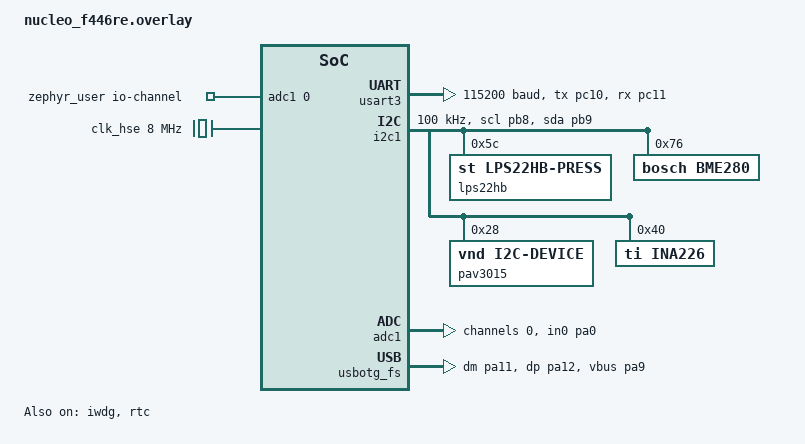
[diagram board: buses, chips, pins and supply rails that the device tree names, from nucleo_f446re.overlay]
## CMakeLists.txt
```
cmake_minimum_required(VERSION 3.20.0)

find_package(Zephyr REQUIRED HINTS $ENV{ZEPHYR_BASE})
project(medical_firmware)

zephyr_cc_option(-Wno-deprecated-declarations -Wno-deprecated)

target_include_directories(app PRIVATE
    include
    include/Power_Management_System
    include/RTOS_Command_based_thread_system
    include/Smart_Battery_System
)

# Sources moved into subfolders
file(GLOB PMS_SRCS      CONFIGURE_DEPENDS ${CMAKE_CURRENT_SOURCE_DIR}/src/Power_Management_System/*.cpp)
file(GLOB BATT_SRCS     CONFIGURE_DEPENDS ${CMAKE_CURRENT_SOURCE_DIR}/src/Smart_Battery_System/*.cpp)
file(GLOB RTOS_CMD_SRCS CONFIGURE_DEPENDS ${CMAKE_CURRENT_SOURCE_DIR}/src/RTOS_Command_based_thread_system/*.cpp)
file(GLOB USB_CDC_SHELL_SRCS CONFIGURE_DEPENDS ${CMAKE_CURRENT_SOURCE_DIR}/src/USB_CDC_SHELL/*.cpp)
file(GLOB FAULT_TOLERANT_I2C_SRCS CONFIGURE_DEPENDS ${CMAKE_CURRENT_SOURCE_DIR}/src/Fault_Tolerant_I2C/*.cpp)

target_sources(app PRIVATE
    src/main.cpp
    ${RTOS_CMD_SRCS}
    src/RTOS_Synchronization_Layer.cpp
    src/Device_State_Machine+Watchdog.cpp
    ${FAULT_TOLERANT_I2C_SRCS}
    src/Persistent_Configuration_System.cpp
    ${PMS_SRCS}
    ${BATT_SRCS}
    src/Static_Memory+MISRA_Compliance_Layer.cpp
    ${USB_CDC_SHELL_SRCS}
)

if(CONFIG_BOARD_MPS2_AN386)
    target_sources(app PRIVATE
        src/qemu_sensor_mocks.c
    )
endif()

target_compile_options(app PRIVATE
    -Wall
    -Wextra
    -Werror
    -Wno-pedantic
    -Wno-variadic-macros
    -Wno-vla
    -Wno-missing-field-initializers
    -Wno-unused-parameter
)

if(CONFIG_COVERAGE)
    target_compile_options(app PRIVATE --coverage -O0)
    target_link_options(app PRIVATE --coverage)
endif()
```

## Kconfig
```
source "Kconfig.zephyr"

config LOG_PREEMPTION_DELAY
    bool "Enable logging for thread pre-emption cycle delays"
    default n
    help
      Enables the LOG_INF statements that print the cycle delay between
      command queue insertion and thread dispatch.

config SOC_MPS2_AN386
    bool
    select HAS_PM
      
config LOG_EXECUTION_CYCLES
    bool "Enable logging for command execution cycle times"
    default n
    help
      Enables the LOG_INF statements inside the CycleProfiler that print
      how many CPU cycles it took to execute a command.
```

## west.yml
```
manifest:
  remotes:
    - name: zephyrproject-rtos
      url-base: https://github.com/zephyrproject-rtos
  projects:
    - name: zephyr
      remote: zephyrproject-rtos
      revision: v4.4.0        # was: main
      import: true
  self:
    path: custom_app
```

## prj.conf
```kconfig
CONFIG_CPP=y
CONFIG_STD_CPP20=y
CONFIG_HEAP_MEM_POOL_SIZE=0
CONFIG_STACK_CANARIES=y

CONFIG_TEST_RANDOM_GENERATOR=y

CONFIG_CONSOLE=y
CONFIG_ASSERT=y
CONFIG_UART_LOG_LEVEL_DBG=y
CONFIG_SHELL_BACKEND_SERIAL=n

CONFIG_PM_DEVICE=y
CONFIG_SHELL=y
CONFIG_SHELL_VT100_COMMANDS=n
CONFIG_FLASH=y
CONFIG_FLASH_MAP=y
CONFIG_FLASH_PAGE_LAYOUT=y
CONFIG_FCB=y
CONFIG_ARM_MPU=y
CONFIG_HW_STACK_PROTECTION=y
CONFIG_MPU_ALLOW_FLASH_WRITE=y

CONFIG_THREAD_NAME=y
CONFIG_THREAD_RUNTIME_STATS=y
CONFIG_TRACING=y
CONFIG_TRACING_USER=y
CONFIG_TRACING_CTF=n
CONFIG_TRACING_BACKEND_UART=n
CONFIG_TRACING_ASYNC=n
CONFIG_TRACING_SYSCALL=n
CONFIG_LOG_BACKEND_FORMAT_TIMESTAMP=y
CONFIG_LOG_BACKEND_SHOW_COLOR=n
CONFIG_LOG_PROCESS_THREAD=y
CONFIG_LOG_MODE_DEFERRED=y
CONFIG_LOG_PROCESS_TRIGGER_THRESHOLD=1
CONFIG_LOG_PROCESS_THREAD_STARTUP_DELAY_MS=0
CONFIG_LOG_PROCESS_THREAD_SLEEP_MS=10

CONFIG_RTC=y
CONFIG_RTC_ALARM=y
CONFIG_LOG=y
CONFIG_LOG_BACKEND_UART=y
CONFIG_PRINTK=y

CONFIG_REQUIRES_FULL_LIBCPP=y
CONFIG_GLIBCXX_LIBCPP=y

CONFIG_WATCHDOG=y
CONFIG_I2C=y
CONFIG_SENSOR=y
CONFIG_REBOOT=y
CONFIG_ADC=y
CONFIG_CBPRINTF_FP_SUPPORT=y
CONFIG_NEWLIB_LIBC=n
CONFIG_TIMESLICING=y
CONFIG_LOG_PREEMPTION_DELAY=y
CONFIG_LOG_EXECUTION_CYCLES=n
CONFIG_THREAD_STACK_INFO=y
```

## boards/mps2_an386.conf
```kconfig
# boards/mps2_an386.conf

# 1. Simulated Flash and NVS
CONFIG_FLASH=y
CONFIG_FLASH_SIMULATOR=y
CONFIG_FLASH_PAGE_LAYOUT=y
CONFIG_FLASH_MAP=y
CONFIG_NVS=y

# 2. General Subsystems
CONFIG_REBOOT=y
CONFIG_COUNTER=y
CONFIG_I2C=y
CONFIG_TEST_RANDOM_GENERATOR=y
CONFIG_WATCHDOG=y

# 3. Standard Console & C++ (Required for QEMU output)
CONFIG_CPP=y
CONFIG_STD_CPP20=y
CONFIG_SERIAL=y
CONFIG_CONSOLE=y
CONFIG_UART_CONSOLE=y
CONFIG_PRINTK=y
CONFIG_LOG_BUFFER_SIZE=4096
CONFIG_LOG_MODE_DEFERRED=y
CONFIG_LOG_PROCESS_THREAD=y
CONFIG_LOG_PROCESS_THREAD_STACK_SIZE=768
CONFIG_ISR_STACK_SIZE=512
CONFIG_SHELL_STACK_SIZE=512
CONFIG_IDLE_STACK_SIZE=128
CONFIG_EMUL=y
CONFIG_I2C_EMUL=y
CONFIG_ADC_EMUL=y
CONFIG_FLASH_SIMULATOR_UNALIGNED_READ=y
CONFIG_INA226=y
CONFIG_SEMIHOST=y
CONFIG_PERCEPIO_TRACERECORDER=y
CONFIG_PERCEPIO_TRC_CFG_STREAM_PORT_RTT=n
CONFIG_PERCEPIO_TRC_CFG_STREAM_PORT_RINGBUFFER=y

CONFIG_LOG_BACKEND_XTENSA_SIM=n 
CONFIG_LOG_TIMESTAMP_64BIT=y
CONFIG_LOG_DEFAULT_LEVEL=3
CONFIG_LOG_BACKEND_UART=y
CONFIG_LOG_PRINTK=n
CONFIG_SYSTEM_WORKQUEUE_STACK_SIZE=384
CONFIG_SYS_CLOCK_TICKS_PER_SEC=1000
```

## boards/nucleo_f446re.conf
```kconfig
CONFIG_USB_CDC_ACM=y
CONFIG_USB_DEVICE_STACK=y
CONFIG_USB_DEVICE_INITIALIZE_AT_BOOT=n
CONFIG_UART_INTERRUPT_DRIVEN=y
CONFIG_UART_LINE_CTRL=y
CONFIG_CBPRINTF_FP_SUPPORT=y

CONFIG_USB_DEVICE_VID=0x0483
CONFIG_USB_DEVICE_PID=0x5740
CONFIG_USB_DEVICE_PRODUCT="Medical Firmware"
CONFIG_USB_DEVICE_MANUFACTURER="STM Microelectronics"
CONFIG_LOG_MODE_IMMEDIATE=n
CONFIG_LOG_BUFFER_SIZE=8192
CONFIG_SENSOR=y
CONFIG_BME280=y
CONFIG_LPS22HB=y
CONFIG_UART_CONSOLE=y

CONFIG_PERCEPIO_TRACERECORDER=n
CONFIG_SEGGER_SYSTEMVIEW=n
CONFIG_USE_SEGGER_RTT=y
CONFIG_SEGGER_RTT_BUFFER_SIZE_UP=4096
CONFIG_LOG_BACKEND_SWO=n
CONFIG_SYS_CLOCK_EXISTS=y
CONFIG_PM=y
CONFIG_PM_POLICY_DEVICE_CONSTRAINTS=y
CONFIG_SIZE_OPTIMIZATIONS=y
CONFIG_RTC_STM32=y
CONFIG_DEBUG_THREAD_INFO=y
CONFIG_INIT_STACKS=y
CONFIG_STACK_USAGE=y
CONFIG_ISR_STACK_SIZE=4096
CONFIG_COUNTER=n
CONFIG_GPIO=y
CONFIG_IDLE_STACK_SIZE=1024
CONFIG_PM_DEVICE_RUNTIME=n
CONFIG_PM_DEVICE_SYSTEM_MANAGED=n
CONFIG_DEBUG=n
CONFIG_SERIAL=y
CONFIG_ADC_STM32=y
CONFIG_LOG_PRINTK=y
```

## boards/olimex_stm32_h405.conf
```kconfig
# boards/olimex_stm32_h405.conf
# QEMU-safe configuration for olimex_stm32_h405.
# Purpose: run application/RTOS logic without STM32 RCC-dependent hardware drivers.

CONFIG_CPP=y
CONFIG_STD_CPP20=y

# QEMU output is through direct ARM semihosting probe.
CONFIG_SERIAL=n
CONFIG_CONSOLE=n
CONFIG_UART_CONSOLE=n
CONFIG_LOG=n
CONFIG_LOG_BACKEND_UART=n
CONFIG_PRINTK=y
CONFIG_BOOT_BANNER=n

# Disable shell/USB/UART backend paths.
CONFIG_USB_DEVICE_STACK=n
CONFIG_SHELL=n
CONFIG_SHELL_BACKEND_SERIAL=n

# Disable STM32 hardware drivers that depend on RCC/clock-control.
CONFIG_CLOCK_CONTROL=n
CONFIG_GPIO=n
CONFIG_I2C=n
CONFIG_SENSOR=n
CONFIG_WATCHDOG=n
CONFIG_COUNTER=n
CONFIG_COUNTER_RTC_STM32=n
CONFIG_FLASH=n
CONFIG_FLASH_PAGE_LAYOUT=n
CONFIG_NVS=n
CONFIG_PM=n
CONFIG_PM_DEVICE=n

# Disable entropy/RNG path that still tries to use the STM32 clock device.
CONFIG_ENTROPY_GENERATOR=n
CONFIG_ENTROPY_STM32_RNG=n
CONFIG_TEST_RANDOM_GENERATOR=y

CONFIG_REBOOT=y

CONFIG_THREAD_NAME=y
CONFIG_THREAD_ANALYZER=n
CONFIG_THREAD_ANALYZER_AUTO=n
CONFIG_THREAD_ANALYZER_RUN_UNLOCKED=n
CONFIG_RTC=n
```

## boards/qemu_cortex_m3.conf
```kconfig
# boards/qemu_cortex_m3.conf

# 1. Simulated Flash and NVS
CONFIG_FLASH=y
CONFIG_FLASH_SIMULATOR=y
CONFIG_FLASH_PAGE_LAYOUT=y
CONFIG_FLASH_MAP=y
CONFIG_NVS=y

# 2. General Subsystems
CONFIG_REBOOT=y
CONFIG_COUNTER=y
CONFIG_I2C=y
CONFIG_TEST_RANDOM_GENERATOR=y
CONFIG_WATCHDOG=y

# 3. Standard Console & C++ (Required for QEMU output)
CONFIG_CPP=y
CONFIG_STD_CPP20=y
CONFIG_SERIAL=y
CONFIG_CONSOLE=y
CONFIG_UART_CONSOLE=y
CONFIG_PRINTK=y
CONFIG_LOG_BUFFER_SIZE=8192
CONFIG_LOG_MODE_IMMEDIATE=y
CONFIG_HW_STACK_PROTECTION=y
CONFIG_ISR_STACK_SIZE=512
CONFIG_SHELL_STACK_SIZE=1024

CONFIG_SEMIHOST=y
CONFIG_PERCEPIO_TRACERECORDER=y
CONFIG_PERCEPIO_TRC_START_MODE_START=y
CONFIG_PERCEPIO_TRC_CFG_STREAM_PORT_ZEPHYR_SEMIHOST=y

CONFIG_LOG_BACKEND_XTENSA_SIM=n 
```

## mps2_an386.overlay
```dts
#include <zephyr/dt-bindings/adc/adc.h>
/delete-node/ &storage_partition;

/ {
    chosen {
        zephyr,console = &uart0;
    };
    
    zephyr_user: zephyr,user {
        io-channels = <&adc_emul0 0>;
    };

    adc_emul0: adc_emul {
        compatible = "zephyr,adc-emul";
        nchannels = <1>;
        #io-channel-cells = <1>;
        #address-cells = <1>;
        #size-cells = <0>;
        status = "okay";
        ref-internal-mv = <3300>;    
        
        channel@0 {
            reg = <0>;
            zephyr,gain = "ADC_GAIN_1";
            zephyr,reference = "ADC_REF_INTERNAL";
            zephyr,acquisition-time = <ADC_ACQ_TIME_DEFAULT>;
            zephyr,resolution = <12>;
        };
    };
    
    aliases {
        cdc-acm-uart0 = &uart1; 
        watchdog0 = &wdog0;
        rtc0 = &rtc_emul0;
        uart-hardware = &uart0;
        i2c1 = &i2c_emul0;
    };
    
    rtc_emul0: rtc {
        compatible = "zephyr,rtc-emul";
        status = "okay";
        alarms-count = <2>;
    };
    
    /* The Emulator Controller */
    i2c_emul0: i2c_emul@50010000 {
    compatible = "zephyr,i2c-emul-controller";
    reg = <0x50010000 0x1000>;
    clock-frequency = <100000>;
    status = "okay";

    #address-cells = <1>;
    #size-cells = <0>;

    lps22hb: lps22hb@5c {
        compatible = "st,lps22hb-press";
        reg = <0x5c>;
        status = "okay";
    };

    bme280: bme280@76 {
        compatible = "bosch,bme280";
        reg = <0x76>;
        status = "okay";
    };

    ina226: ina226@40 {
        compatible = "ti,ina226";
        reg = <0x40>;
        rshunt-micro-ohms = <100000>;
        current-lsb-microamps = <25>;
        status = "okay";
    };

    pav3015: pav3015@28 {
        compatible = "vnd,i2c-device";
        reg = <0x28>;
        status = "disabled";
    };
    };

    /* Simulated Flash Drive for NVS */
    sim_flash: sim_flash@50000000 {
        compatible = "zephyr,sim-flash";
        /* Expand total simulated flash to 512 KB to fit the Nucleo layout */
        reg = <0x50000000 0x80000>; 
        #address-cells = <1>;
        #size-cells = <1>;
        erase-value = <0xff>;

        my_sim_flash0: flash_sim@0 {
            status = "okay";
            compatible = "soc-nv-flash";
            erase-block-size = <131072>; 
            
            /* CHANGE THIS TO 1: Allows 1-byte and 2-byte FCB writes to succeed */
            write-block-size = <1>; 
            
            reg = <0x00000000 0x80000>;

            partitions {
                compatible = "fixed-partitions";
                #address-cells = <1>;
                #size-cells = <1>;

                code_partition: partition@0 {
                    label = "image-0";
                    reg = <0x00000000 0x00040000>;
                };

                storage_partition: partition@40000 {
                    label = "storage";
                    reg = <0x00040000 0x00040000>;
                };
            };
        };
    };
};
&uart0 {
    status = "okay";
};

&uart1 {
        status = "okay";
};

&wdog0 {
    status = "okay";
};
```

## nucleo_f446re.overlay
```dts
#include <zephyr/dt-bindings/pinctrl/stm32-pinctrl.h>

/ {
    chosen {
        /* Route Zephyr system logs and console to USART3 (PC10/PC11) */
        zephyr,console = &usart3;
        zephyr,shell-uart = &usart3;
        zephyr,code-partition = &code_partition;
        /delete-property/ zephyr,lpm-timer;
        /delete-property/ zephyr,cortex-m-idle-timer;
    };

    aliases {
        cdc-acm-uart0 = &cdc_acm_uart0;
        rtc0 = &rtc;
        watchdog0 = &iwdg;
    };

    zephyr_user: zephyr,user {
        io-channels = <&adc1 0>;
    };

    cpus {
        cpu0: cpu@0 {
            cpu-power-states = <&stop0>;
        };
    };

    power-states {
        stop0: state0 {
            compatible = "zephyr,power-state";
            power-state-name = "suspend-to-ram";
            min-residency-us = <100000>;
            exit-latency-us = <2000>;
        };
    };
};

/* --- DEDICATED SLEEP PIN STATES ---
 * NOTE: the STM32 pinctrl binding requires ONE pinmux value per node.
 * Multi-pin groups are formed by listing several node phandles in
 * pinctrl-N, not by stacking values inside a single node.
 */
&pinctrl {
    /* FIX: Changed from AF7 to strictly ANALOG to prevent UART leakage */
    usart3_tx_sleep: usart3_tx_sleep {
        pinmux = <STM32_PINMUX('C', 10, ANALOG)>;
    };
    usart3_rx_sleep: usart3_rx_sleep {
        pinmux = <STM32_PINMUX('C', 11, ANALOG)>;
    };

    /* FIX: Changed from AF4 to strictly ANALOG to prevent I2C pull-up leakage */
    i2c1_scl_sleep: i2c1_scl_sleep {
        pinmux = <STM32_PINMUX('B', 8, ANALOG)>;
    };
    i2c1_sda_sleep: i2c1_sda_sleep {
        pinmux = <STM32_PINMUX('B', 9, ANALOG)>;
    };

    adc1_in0_sleep: adc1_in0_sleep {
        pinmux = <STM32_PINMUX('A', 0, ANALOG)>;
    };

    usb_otg_fs_vbus_sleep: usb_otg_fs_vbus_sleep {
        pinmux = <STM32_PINMUX('A', 9, ANALOG)>;
    };
};

/* Enable USART3 (PC10 TX / PC11 RX) with sleep pinctrl */
&usart3 {
    status = "okay";
    current-speed = <115200>;
    pinctrl-0 = <&usart3_tx_pc10 &usart3_rx_pc11>;
    pinctrl-1 = <&usart3_tx_sleep &usart3_rx_sleep>;
    pinctrl-names = "default", "sleep";
};

/* Explicitly disable unused buses to prevent phantom PM warnings */
&i2c2 { status = "disabled"; };
&i2c3 { status = "disabled"; };

&i2c1 {
    status = "okay";
    pinctrl-0 = <&i2c1_scl_pb8 &i2c1_sda_pb9>;
    pinctrl-1 = <&i2c1_scl_sleep &i2c1_sda_sleep>;
    pinctrl-names = "default", "sleep";
    scl-gpios = <&gpiob 8 (GPIO_OPEN_DRAIN | GPIO_PULL_UP)>;
    sda-gpios = <&gpiob 9 (GPIO_OPEN_DRAIN | GPIO_PULL_UP)>;
    clock-frequency = <I2C_BITRATE_STANDARD>;

    lps22hb: lps22hb@5c {
        compatible = "st,lps22hb-press";
        reg = <0x5c>;
        status = "okay";
    };
    bme280: bme280@76 {
        compatible = "bosch,bme280";
        reg = <0x76>;
        status = "okay";
    };
    pav3015: pav3015@28 {
        compatible = "vnd,i2c-device";
        reg = <0x28>;
        status = "okay";
    };
    ina226: ina226@40 {
        compatible = "ti,ina226";
        reg = <0x40>;
        rshunt-micro-ohms = <100000>;
        current-lsb-microamps = <25>;
        status = "okay";
    };
};

&adc1 {
    #address-cells = <1>;
    #size-cells = <0>;
    pinctrl-0 = <&adc1_in0_pa0>;
    pinctrl-1 = <&adc1_in0_sleep>;
    pinctrl-names = "default", "sleep";
    st,adc-prescaler = <2>;
    status = "okay";

    channel@0 {
        reg = <0>;
        zephyr,gain = "ADC_GAIN_1";
        zephyr,reference = "ADC_REF_INTERNAL";
        zephyr,acquisition-time = <ADC_ACQ_TIME_DEFAULT>;
        zephyr,resolution = <12>;
    };
};

&gpioa { status = "okay"; };
&gpiob { status = "okay"; };
&gpioc { status = "okay"; };
&iwdg { status = "okay"; };
&usart2 { status = "disabled"; };
&clk_lse { status = "okay"; };

&rtc {
    status = "okay";
    clocks = <&rcc STM32_CLOCK_BUS_APB1 0x10000000>,
             <&rcc STM32_SRC_LSE RTC_SEL(1)>;
    wakeup-source;
};

&clk_hse {
    clock-frequency = <DT_FREQ_M(8)>;
    hse-bypass;
    status = "okay";
};

&pll {
    clocks = <&clk_hse>;
    div-m = <8>;
    mul-n = <384>;
    div-p = <4>;
    div-q = <8>;
    status = "okay";
};

&rcc {
    clocks = <&pll>;
    clock-frequency = <DT_FREQ_M(96)>;
    ahb-prescaler = <1>;
    apb1-prescaler = <4>;
    apb2-prescaler = <2>;
};

&usbotg_fs {
    status = "okay";
    pinctrl-0 = <&usb_otg_fs_dm_pa11 &usb_otg_fs_dp_pa12 &usb_otg_fs_vbus_pa9>;
    /* Only VBUS uses pinctrl sleep. DM/DP left out to allow C++ to force Output Low */
    pinctrl-1 = <&usb_otg_fs_vbus_sleep>;
    pinctrl-names = "default", "sleep";

    cdc_acm_uart0: cdc_acm_uart0 {
        compatible = "zephyr,cdc-acm-uart";
        label = "CDC_ACM_0";
        tx-fifo-size = <2048>;
   	rx-fifo-size = <2048>; 
    };
};

/delete-node/ &boot_partition;
/delete-node/ &slot0_partition;
/delete-node/ &slot1_partition;
/delete-node/ &scratch_partition;
/delete-node/ &storage_partition;

&flash0 {
    partitions {
        compatible = "fixed-partitions";
        #address-cells = <1>;
        #size-cells = <1>;

        code_partition: partition@0 {
            label = "image-0";
            reg = <0x00000000 0x00040000>;
        };

        storage_partition: partition@40000 {
            label = "storage";
            reg = <0x00040000 0x00040000>;
        };
    };
};
```

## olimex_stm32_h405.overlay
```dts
/* olimex_stm32_h405.overlay */

/ {
    chosen {
        zephyr,console = &usart2;
        zephyr,shell-uart = &usart2;
    };

    aliases {
        serial0 = &usart2;

        /*
         * Your USB_CDC_Virtual_COM_Shell_Interface.cpp uses:
         * DEVICE_DT_GET(DT_ALIAS(cdc_acm_uart0))
         *
         * USB is disabled in QEMU, so map this alias to USART2.
         */
        cdc-acm-uart0 = &usart2;
    };
};

/*
 * QEMU-safe clock configuration.
 * Use HSI instead of external HSE/PLL.
 */
&clk_hsi {
    status = "okay";
};

&clk_hse {
    status = "disabled";
};

&pll {
    status = "disabled";
};

&rcc {
    clocks = <&clk_hsi>;
    clock-frequency = <16000000>;
    ahb-prescaler = <1>;
    apb1-prescaler = <1>;
    apb2-prescaler = <1>;
};

&usart2 {
    status = "okay";
    current-speed = <115200>;
    pinctrl-0 = <&usart2_tx_pa2 &usart2_rx_pa3>;
    pinctrl-names = "default";
};

&usbotg_fs {
    status = "disabled";
};

/*
 * Keep I2C enabled in DTS if your full firmware expects i2c1 device.
 * Your I2CManager already mocks reads/writes for CONFIG_BOARD_OLIMEX_STM32_H405.
 */
&i2c1 {
    status = "okay";
    pinctrl-0 = <&i2c1_scl_pb6 &i2c1_sda_pb7>;
    pinctrl-names = "default";
};

&rtc {
    status = "okay";
};

&iwdg {
    status = "okay";
};

/*
 * Required by Persistent_Configuration_System.cpp:
 * DT_NODELABEL(storage_partition)
 */
&flash0 {
    partitions {
        compatible = "fixed-partitions";
        #address-cells = <1>;
        #size-cells = <1>;

        storage_partition: partition@E0000 {
            label = "storage";
            reg = <0x000E0000 0x00020000>;
        };
    };
};

/*
 * QEMU mode:
 * Disable STM32 EXTI and RNG/entropy nodes because they depend on
 * stm32_clock_control_init / RCC, which hangs under olimex-stm32-h405 QEMU.
 */
&exti {
    status = "disabled";
};

&rng {
    status = "disabled";
};
```

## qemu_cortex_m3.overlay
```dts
/ {
    aliases {
        cdc-acm-uart0 = &uart0;
    };

    /* The Golden Stub: We map all missing hardware to the I2C test driver */
    i2c1: fake_i2c@40001000 {
        compatible = "vnd,i2c";
        reg = <0x40001000 0x1000>;
        status = "okay";
        #address-cells = <1>;
        #size-cells = <0>;
    };

    iwdg: fake_watchdog@40002000 {
        compatible = "vnd,i2c";
        reg = <0x40002000 0x1000>;
        status = "okay";
        #address-cells = <1>;
        #size-cells = <0>;
    };

    rtc: fake_rtc@40003000 {
        compatible = "vnd,i2c";
        reg = <0x40003000 0x1000>;
        status = "okay";
        #address-cells = <1>;
        #size-cells = <0>;
    };

    /* Simulated Flash Drive for NVS */
    sim_flash: sim_flash@50000000 {
        compatible = "zephyr,sim-flash";
        reg = <0x50000000 0x8000>;
        #address-cells = <1>;
        #size-cells = <1>;
        erase-value = <0xff>;

        flash_sim0: flash_sim@0 {
            status = "okay";
            compatible = "soc-nv-flash";
            erase-block-size = <1024>;
            write-block-size = <4>;
            reg = <0x00000000 0x8000>;

            partitions {
                compatible = "fixed-partitions";
                #address-cells = <1>;
                #size-cells = <1>;

                storage_partition: partition@6000 {
                    label = "storage";
                    reg = <0x00006000 0x00002000>;
                };
            };
        };
    };
};
```

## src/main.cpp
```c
#include <zephyr/kernel.h>
#include <zephyr/logging/log.h>
#include <zephyr/sys/printk.h>
#ifdef CONFIG_USB_DEVICE_STACK
#include <zephyr/usb/usb_device.h>
#endif
#include <zephyr/drivers/uart.h>
#include <cerrno>

#include "RTOS_Command_Based_Thread_System.h"
#include "RTOS_Synchronization_Layer.h"
#include "Device_State_Machine+Watchdog.h"
#include "Smart_Battery_System.h"
#include "Persistent_Configuration_System.h"
#include "Static_Memory+MISRA_Compliance_Layer.h"
#include "Power_Management_System.h"
#include "USB_CDC_Virtual_COM_Shell_Interface.h"

#include <zephyr/debug/thread_analyzer.h>
#include <new>
#include <zephyr/sys/atomic.h>

LOG_MODULE_REGISTER(MAIN_OS, LOG_LEVEL_INF);

#ifdef CONFIG_USB_DEVICE_STACK
/* Callback to monitor physical USB hardware events */
static void usb_status_cb(enum usb_dc_status_code cb_status, const uint8_t *param) {
    switch (cb_status) {
        case USB_DC_DISCONNECTED:
            if (g_usb_connected.exchange(false, std::memory_order_acq_rel)) {
                LOG_WRN("USB Hardware Event: Cable Disconnected");
            }
            break;
        case USB_DC_SUSPEND:
            LOG_INF("USB Hardware Event: Bus Suspended");
            break;
        case USB_DC_CONFIGURED:
            if (!g_usb_connected.exchange(true, std::memory_order_acq_rel)) {
                LOG_INF("USB Hardware Event: Cable Connected & Configured");
            }
            break;
        default:
            break;
    }
}
#endif

int main(void){
    printk("BOOT\n");
    
    if (!sys_context.initWatchdog(30000U)) {
        LOG_ERR("CRITICAL: Watchdog initialization failed; halting.");
        sys_context.triggerFault("Watchdog init failed");
        for (;;) {
            k_sleep(K_FOREVER);
        }
    }
    
    const struct device *const console_dev  =  DEVICE_DT_GET(DT_CHOSEN(zephyr_console));
    
    if (device_is_ready(console_dev)) {
#ifdef CONFIG_USB_DEVICE_STACK
        /* Initialize USB Subsystem ONCE globally, attaching our new callback */
        int usb_err = usb_enable(usb_status_cb); // Changed from nullptr
        
        if (usb_err == 0 || usb_err == -EALREADY) {
            uint32_t dtr = 0;
            int timeout = 30; // 3 seconds max wait

            while (!dtr && timeout > 0) {
                // If the hardware callback fired and marked us unplugged, skip the wait
                if (!g_usb_connected.load(std::memory_order_acquire)) break; 
                
                int ret = uart_line_ctrl_get(console_dev, UART_LINE_CTRL_DTR, &dtr);
                if (ret == -ENOTSUP || ret == -ENOSYS) break; 
                
                k_msleep(100);
                timeout--;
            }
            
            if (dtr) k_msleep(250); 
        } else {
            LOG_ERR("Failed to initialize USB subsystem (err %d)", usb_err);
        }
#endif
    }

    LOG_INF("Command-Based RTOS Booting");

    ConfigStore& config = ConfigStore::getInstance();
    if (config.init()) {
        config.validateEndurance(ConfigKey::ALARM_THRESHOLD_BASE);
        uint16_t infusion_rate = 0;
        if (!config.get(ConfigKey::INFUSION_RATE_BASE, infusion_rate)) {
            LOG_WRN("First boot detected. Setting default infusion rate.");
            config.set(ConfigKey::INFUSION_RATE_BASE, static_cast<uint16_t>(50));
        } else {
            LOG_INF("Loaded Infusion Rate from NVS: %u mL/hr", infusion_rate);
        }
    }
    
    status_work.schedule(K_SECONDS(1));
    return 0;
}
```

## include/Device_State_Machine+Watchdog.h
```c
#pragma once
#include <zephyr/kernel.h>
#include <zephyr/drivers/watchdog.h>
#include "Power_Management_System.h"
/* Global Thread Health Flags (Updated by ALL RTOS Threads) */
extern atomic_t g_producer_alive;
extern atomic_t g_processor_alive;
extern atomic_t g_logger_alive;
extern atomic_t g_hr_prod_alive;
extern atomic_t g_disp_cons_alive;
extern atomic_t g_bms_comm_alive;
extern atomic_t g_batt_mon_alive;
extern atomic_t g_mem_mon_alive;
extern atomic_t g_shell_alive;
extern DeviceContext sys_context;

enum class SystemState {
  INIT,
  RUNNING,
  FAULT,
  SAFE_HALT
};

class WatchdogTimer {
    private:
        const struct device *wdt_dev{nullptr};
        int channel_id{-1};
    public:
        WatchdogTimer();
        bool init(uint32_t timeout_ms);
        void feed();
        bool isInitialized() const;
};

class DeviceContext : public IPowerObserver {
    private:
        SystemState current_state{SystemState::INIT};
        WatchdogTimer wdt;
        static bool isLegalTransition(SystemState from, SystemState to);
    public:
        DeviceContext() noexcept;
        SystemState getState() const;
        bool requestTransition(SystemState next_state);
        bool initWatchdog(uint32_t timeout_ms);
        void feedWatchdog();
        void triggerFault(const char* reason);
        void beforeSleep() override;
        void afterWakeup() override;
        void sleepAborted() override;
};
```

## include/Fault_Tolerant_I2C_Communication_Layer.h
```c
#pragma once

#include <zephyr/kernel.h>
#include <zephyr/drivers/i2c.h>
#include <atomic>
#include <cstdint>
#include "Static_Memory+MISRA_Compliance_Layer.h"

enum class I2CFault { NONE, NACK, TIMEOUT, BUS_BUSY, ARBITRATION_LOST, DEVICE_NOT_READY };

template <typename T>
struct Result {
    T value{};
    I2CFault error{I2CFault::NONE};
    bool success{false};
    bool degraded{false};
    int64_t timestamp_ms{0};
    uint8_t reliability_score{100U};

    static Result<T> Ok(T val, int64_t ts_ms = 0) {
        return {val, I2CFault::NONE, true, false, ts_ms, 100U};
    }

    static Result<T> Degraded(T val, I2CFault recovered_from, int64_t ts_ms = 0, uint8_t score = 50U) {
        return {val, recovered_from, true, true, ts_ms, score};
    }

    static Result<T> Err(I2CFault err) {
        return {T{}, err, false, false, 0, 0U};
    }

    bool isOk() const { return success; }
    bool isDegraded() const { return degraded; }
    T unwrap() const { return value; }
};

class I2CStrategy {
public:
    virtual ~I2CStrategy() = default;
    virtual void executeRecovery(const device* i2c_dev) = 0;
};

class RetryStrategy : public I2CStrategy {
private:
    std::atomic<uint32_t> backoff_ms{10U};
public:
    static constexpr uint32_t INITIAL_BACKOFF_MS = 10U;
    static constexpr uint32_t MAX_BACKOFF_MS = 80U;
    void executeRecovery(const device* i2c_dev) override;
    void resetBackoff() noexcept;
    uint32_t getBackoffMs() const noexcept;
};

class BusResetStrategy : public I2CStrategy {
public:
    void executeRecovery(const device* i2c_dev) override;
};

class FailSafeStrategy : public I2CStrategy {
private:
    uint64_t last_known_good_value{0U};
public:
    void executeRecovery(const device* i2c_dev) override;
    void updateLastGood(uint64_t val);
    uint64_t getLastGood() const;
};

class I2CManager {
private:
    const device* i2c_dev;
    mutable struct k_mutex bus_mutex{};
    RetryStrategy retry_strategy;
    BusResetStrategy reset_strategy;
    FailSafeStrategy failsafe_strategy;
    bool sleep_mutex_held{false};
public:
    explicit I2CManager(const device* dev);
    ~I2CManager();
    I2CManager(const I2CManager&) = delete;
    I2CManager& operator=(const I2CManager&) = delete;
    I2CManager(I2CManager&&) = delete;
    I2CManager& operator=(I2CManager&&) = delete;

    void lockForSleep() noexcept;
    void unlockAfterSleep() noexcept;
    
    Result<uint8_t> readRegister(uint16_t sensor_addr, uint8_t reg_addr);
    Result<bool> writeRegister(uint16_t sensor_addr, uint8_t reg_addr, uint8_t val);
    Result<uint16_t> readWord(uint16_t sensor_addr, uint8_t reg_addr);
    Result<bool> writeWord(uint16_t sensor_addr, uint8_t reg_addr, uint16_t val);
    Result<uint32_t> read24Bit(uint16_t sensor_addr, uint8_t reg_addr);
    Result<uint64_t> read64Bit(uint16_t sensor_addr, uint8_t reg_addr);
};

extern I2CManager i2c_manager;
```

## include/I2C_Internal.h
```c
#pragma once

#include <cstdint>
#include "Fault_Tolerant_I2C_Communication_Layer.h"

#ifdef IS_TEST_ENVIRONMENT
extern int g_i2c_force_errno;
#endif

namespace i2c_internal {

struct CacheReadMeta {
    int64_t timestamp_ms{0};
    uint8_t reliability_score{0U};
};

inline CacheReadMeta g_default_cache_meta{};

#ifdef IS_TEST_ENVIRONMENT
struct MockGpioPort {
    uint32_t MODER{0U};
    uint32_t OTYPER{0U};
    uint32_t PUPDR{0U};
    uint32_t BSRR{0U};
    uint32_t bsrr_log[32]{0U};
    uint32_t bsrr_count{0U};
    bool rcc_gpiob_clk_enabled{false};
};

extern MockGpioPort g_mock_gpiob;
void reset_mock_gpiob() noexcept;
#endif

/* Map a negative Zephyr driver errno to an I2CFault enum value. */
I2CFault classify_i2c_error(int err);

/* Return true when the fault requires a physical SCL bus reset (TIMEOUT or BUS_BUSY). */
bool is_recoverable_with_bus_reset(I2CFault fault);

/* Classify `err` and execute either `reset_strategy` or `retry_strategy`. */
I2CFault classify_and_recover(int err,
                              const device* i2c_dev,
                              BusResetStrategy& reset_strategy,
                              RetryStrategy& retry_strategy);

/* Store / refresh the value for `key`: resets the reliability score to the maximum, bumps the sample count. */
void update_cache(uint32_t key, uint64_t value, bool calibrated = true);

/* Fallback read: succeeds only for a fresh (<= max_age_ms), reliable (score >= minimum) and calibrated entry,
 * and decays the entry's reliability on every successful use. */
bool get_cached_value(uint32_t key, uint64_t* out_val, uint32_t max_age_ms,
                      CacheReadMeta& out_meta = g_default_cache_meta);

} // namespace i2c_internal
```

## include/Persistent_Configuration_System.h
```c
#pragma once

#include <zephyr/kernel.h>
#include <zephyr/fs/fcb.h>
#include <zephyr/pm/policy.h>
#include "Power_Management_System.h"
#include <type_traits>
#include <cstdint>
#include <array>

enum class ConfigKey : uint16_t {
    FULL_CHARGE_LOG        = 4,
    DEVICE_ID_BASE         = 100,
    INFUSION_RATE_BASE     = 200,
    ALARM_THRESHOLD_BASE   = 300
};

namespace InfusionDeviceConfig {
    constexpr uint8_t MinSlot = 1;
    constexpr uint8_t MaxSlot = 5;
    constexpr uint8_t NumSlots = 5;

    constexpr uint32_t UnprovisionedId = 0;

    constexpr std::array<uint32_t, NumSlots> DefaultDeviceIds        = {1001, 1002, 1003, 1004, 1005};
    constexpr std::array<uint8_t,  NumSlots> DefaultAlarmThresholds  = {80, 85, 90, 95, 100};

    [[nodiscard]] constexpr bool isValidSlot(uint8_t slot) noexcept {
        return slot >= MinSlot && slot <= MaxSlot;
    }
}

class FlashPowerGuard {
public:
    FlashPowerGuard() {
        PowerManager::getInstance().acquireFlashLock();
        pm_policy_state_lock_get(PM_STATE_SUSPEND_TO_RAM, PM_ALL_SUBSTATES);
    }
    ~FlashPowerGuard() {
        pm_policy_state_lock_put(PM_STATE_SUSPEND_TO_RAM, PM_ALL_SUBSTATES);
        PowerManager::getInstance().releaseFlashLock();
    }
};
struct FcbRecordHeader {
    ConfigKey key;
    uint16_t length;
};

class ConfigStore {
    private:
        struct MutexGuard {
            struct k_mutex& mtx;
            explicit MutexGuard(struct k_mutex& m) noexcept : mtx(m) {
                k_mutex_lock(&mtx, K_FOREVER);
            }
            ~MutexGuard() noexcept {
                k_mutex_unlock(&mtx);
            }
            MutexGuard(const MutexGuard&) = delete;
            MutexGuard& operator=(const MutexGuard&) = delete;
        };

        struct fcb fcb_instance{};
        struct flash_sector fcb_sectors[2]{}; // Sectors 6 and 7
        mutable struct k_mutex fcb_mutex{};
        bool initialized{false};

        static ConfigStore instance;

        ConfigStore() noexcept;
        ~ConfigStore()=default;

        ConfigStore(const ConfigStore&)=delete;
        ConfigStore& operator=(const ConfigStore&)=delete;

        void seedDefaultDeviceIds();
        void seedDefaultAlarmThresholds();

    public:
        static ConfigStore& getInstance();

        bool init();

        template <typename T>
        bool set(ConfigKey key, const T& value) {
            static_assert(std::is_trivially_copyable<T>::value, "Config data must be trivially copyable");

            {
                MutexGuard lock(fcb_mutex);
                if (!initialized) {
                    return false;
                }

                FlashPowerGuard pm_guard;

                struct fcb_entry loc{};
                int rc = fcb_append(&fcb_instance, sizeof(FcbRecordHeader) + sizeof(T), &loc);
                if (rc == -ENOSPC) {
                    // Flash area full: rotate (erase oldest sector) and retry once.
                    rc = fcb_rotate(&fcb_instance);
                    if (rc != 0) {
                        return false;
                    }
                    rc = fcb_append(&fcb_instance, sizeof(FcbRecordHeader) + sizeof(T), &loc);
                }
                if (rc != 0) {
                    return false;
                }

                FcbRecordHeader header = { key, sizeof(T) };
                rc = flash_area_write(fcb_instance.fap, FCB_ENTRY_FA_DATA_OFF(loc), &header, sizeof(header));
                if (rc != 0) return false;

                rc = flash_area_write(fcb_instance.fap, FCB_ENTRY_FA_DATA_OFF(loc) + sizeof(header), &value, sizeof(T));
                if (rc != 0) return false;

                rc = fcb_append_finish(&fcb_instance, &loc);
                if (rc != 0) return false;
            }

            PowerManager::getInstance().reportActivity();
            return true;
        }

        template <typename T>
        bool get(ConfigKey key, T& out_value) {
            static_assert(std::is_trivially_copyable<T>::value, "Config data must be trivially copyable.");

            MutexGuard lock(fcb_mutex);
            if (!initialized) {
                return false;
            }

            FlashPowerGuard pm_guard;

            struct fcb_entry loc{};
            loc.fe_sector = nullptr;
            loc.fe_elem_off = 0;

            bool found = false;
            FcbRecordHeader header{};
            T temp_val{};

            // Walk through all records to find the most recent one for this key
            while (fcb_getnext(&fcb_instance, &loc) == 0) {
                if (flash_area_read(fcb_instance.fap, FCB_ENTRY_FA_DATA_OFF(loc), &header, sizeof(header)) == 0) {
                    if (header.key == key && header.length == sizeof(T)) {
                        if (flash_area_read(fcb_instance.fap, FCB_ENTRY_FA_DATA_OFF(loc) + sizeof(header), &temp_val, sizeof(T)) == 0) {
                            found = true;
                        }
                    }
                }
            }

            if (found) {
                out_value = temp_val;
            }
            return found;
        }

        bool validateEndurance(ConfigKey key);

        [[nodiscard]] bool setDeviceId(uint8_t slot, uint32_t deviceId){
            if (!InfusionDeviceConfig::isValidSlot(slot)){
                return false;
            }
            return set(static_cast<ConfigKey>(static_cast<uint16_t>(ConfigKey::DEVICE_ID_BASE) + slot), deviceId);
        }

        [[nodiscard]] bool getDeviceId(uint8_t slot, uint32_t& out){
            if (!InfusionDeviceConfig::isValidSlot(slot)){
                return false;
            }
            return get(static_cast<ConfigKey>(static_cast<uint16_t>(ConfigKey::DEVICE_ID_BASE) + slot), out);
        }

        [[nodiscard]] bool findSlotByDeviceId(uint32_t deviceId, uint8_t& out_slot){
            for (uint8_t slot = InfusionDeviceConfig::MinSlot; slot <= InfusionDeviceConfig::MaxSlot; ++slot){
                uint32_t stored = InfusionDeviceConfig::UnprovisionedId;
                if (getDeviceId(slot, stored) && stored == deviceId){
                    out_slot = slot;
                    return true;
                }
            }
            return false;
        }

        [[nodiscard]] bool setInfusionRate(uint8_t slot, uint8_t rate){
            if (!InfusionDeviceConfig::isValidSlot(slot) || rate < 1 || rate > 100){
                return false;
            }
            return set(static_cast<ConfigKey>(static_cast<uint16_t>(ConfigKey::INFUSION_RATE_BASE) + slot), rate);
        }

        [[nodiscard]] bool getInfusionRate(uint8_t slot, uint8_t& out){
            if (!InfusionDeviceConfig::isValidSlot(slot)){
                return false;
            }
            return get(static_cast<ConfigKey>(static_cast<uint16_t>(ConfigKey::INFUSION_RATE_BASE) + slot), out);
        }

        [[nodiscard]] bool setAlarmThreshold(uint8_t slot, uint8_t threshold){
            if (!InfusionDeviceConfig::isValidSlot(slot) || threshold < 80 || threshold > 100){
                return false;
            }
            return set(static_cast<ConfigKey>(static_cast<uint16_t>(ConfigKey::ALARM_THRESHOLD_BASE) + slot), threshold);
        }

        [[nodiscard]] bool getAlarmThreshold(uint8_t slot, uint8_t& out){
            if (!InfusionDeviceConfig::isValidSlot(slot)){
                return false;
            }
            return get(static_cast<ConfigKey>(static_cast<uint16_t>(ConfigKey::ALARM_THRESHOLD_BASE) + slot), out);
        }
        
        struct LogEntry {
        uint32_t timestamp_ms;
        uint8_t event_id; // e.g., 0x01 = Battery Full, 0x02 = Fault, 0x03 = State Change
        int32_t event_data;
    };

    // New methods required for the USB Shell
    [[nodiscard]] uint32_t getStoredLogCount() const noexcept;
    [[nodiscard]] bool getLogEntry(uint32_t index, LogEntry& out_entry) const noexcept;
};
```

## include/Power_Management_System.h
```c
#pragma once

#include <zephyr/kernel.h>
#include <zephyr/device.h>
#include <cstdint>
#include <atomic>
#include <array>
#include <zephyr/sys/atomic.h>

constexpr size_t MAX_OBSERVERS = 8;
constexpr uint8_t PM_FAILURE_FAULT_THRESHOLD = 3;
class PowerManager;
class DeviceContext;
extern bool s_real_hw_sleep_active;
extern uint32_t s_elapsed_sleep_time_us;
extern uint32_t s_current_sleep_interval_us;

enum class StopWakeReason : uint8_t {
    WAKE_NONE,
    WAKE_RTC,
    WAKE_ACTIVITY,
    WAKE_UNKNOWN,
    WAKE_ABORTED
};

extern atomic_t s_activity_pending;
extern volatile StopWakeReason s_stop_wake_reason;
extern struct k_sem pm_wake_sem;
extern struct k_sem stop_wake_sem;
void advance_rtc_time(struct rtc_time& time, uint32_t seconds_to_add);
bool clear_rtc_alarm_a_pending();
int set_rtc_alarm(const struct device* rtc_dev, uint32_t interval_us, void* user_data);
void clear_rtc_alarm(const struct device* rtc_dev);
extern const k_tid_t processor_tid;
extern const k_tid_t producer_tid;
extern const k_tid_t logger_tid;
extern const k_tid_t battery_tid;
extern const k_tid_t shell_tid;
extern const k_tid_t bms_comm_tid;
extern const k_tid_t hr_prod_tid;
extern const k_tid_t disp_cons_tid;
extern const k_tid_t mem_mon_tid;
extern const k_tid_t trace_tid;

class IPowerObserver {
public:
    virtual ~IPowerObserver() = default;
    virtual void beforeSleep() = 0;
    virtual void afterWakeup() = 0;
    virtual void sleepAborted() = 0;
};


class IPowerState {
public:
    virtual ~IPowerState() = default;
    
    virtual bool enter(PowerManager& pm) = 0;
    virtual IPowerState& execute(PowerManager& pm) = 0;
    virtual void exit(PowerManager& pm) = 0;
    
    virtual const char* getName() const = 0;
};

class PowerManager {
public:
    static PowerManager& getInstance();

    bool init(const struct device* rtc, const struct device* i2c, 
              const struct device* uart, const struct device* usb, 
              const struct device* adc, DeviceContext* fault_ctx);

    bool registerObserver(IPowerObserver* obs);
    void reportActivity();
    void reportPmFailure();
    void processFSM();

    // Notifiers for observers
    void notifyBeforeSleep();
    void notifyAfterWakeup();
    void notifySleepAborted();

    // Getters and Setters used by concrete states
    uint32_t getLastActivityTime() const { return last_activity_time.load(); }
    void clearWakePending() { atomic_set(&wake_pending, 0); }
    
    // Consumes the wake flag atomically to prevent race conditions during STOP mode wake
    bool consumeWakePending(); 
    
    const struct device* getRtcDev() const { return rtc_dev; }
    const struct device* getI2cDev() const { return i2c_dev; }
    const struct device* getUartDev() const { return uart_dev; }
    const struct device* getUsbDev() const { return usb_dev; }
    const struct device* getAdcDev() const { return adc_dev; }

    void recordSleepTime() { last_sleep_time = k_uptime_get_32(); }
    void setExpectedWakeTime(uint32_t time) { expected_wake_time = time; }
    uint32_t getSleepTime() const { return last_sleep_time; }
    uint32_t getExpectedWakeTime() const { return expected_wake_time; }
    
    void resetPmFailures() { consecutive_pm_failures = 0; }

    // Static callback for RTC API
    static void rtc_alarm_handler(const struct device* dev, uint16_t id, void* user_data);

#ifdef IS_TEST_ENVIRONMENT
    void resetForTest();
#endif

    // Exposed for direct alarm manipulation in states
    atomic_t wake_pending;

private:
    PowerManager();
    ~PowerManager() = default;
    PowerManager(const PowerManager&) = delete;
    PowerManager& operator=(const PowerManager&) = delete;

    void transitionTo(IPowerState& next_state);
    size_t captureObservers(std::array<IPowerObserver*, MAX_OBSERVERS>& out);

    IPowerState* current_state;
    
    uint32_t last_sleep_time;
    uint32_t expected_wake_time;

    const struct device* rtc_dev;
    const struct device* i2c_dev;
    const struct device* uart_dev;
    const struct device* usb_dev;
    const struct device* adc_dev;

    size_t observer_count;
    std::array<IPowerObserver*, MAX_OBSERVERS> observers;
    
    DeviceContext* fault_context;
    uint32_t consecutive_pm_failures;

    std::atomic<uint32_t> last_activity_time;
};


class ActiveState : public IPowerState {
public:
    static ActiveState& getInstance();
    bool enter(PowerManager& pm) override;
    IPowerState& execute(PowerManager& pm) override;
    void exit(PowerManager& pm) override;
    const char* getName() const override { return "PM_STATE_ACTIVE"; }

private:
    ActiveState() = default;
};

class IdleState : public IPowerState {
public:
    static IdleState& getInstance();
    bool enter(PowerManager& pm) override;
    IPowerState& execute(PowerManager& pm) override;
    void exit(PowerManager& pm) override;
    const char* getName() const override { return "PM_STATE_SUSPEND_TO_IDLE"; }

private:
    IdleState() = default;
};

class StopState : public IPowerState {
public:
    static StopState& getInstance();
    bool enter(PowerManager& pm) override;
    IPowerState& execute(PowerManager& pm) override;
    void exit(PowerManager& pm) override;
    const char* getName() const override { return "PM_STATE_SUSPEND_TO_RAM"; }

#ifdef IS_TEST_ENVIRONMENT
    void resetForTest() { sleep_prepared = false; }
#endif

private:
    StopState() = default;
    bool sleep_prepared = false;
};
```

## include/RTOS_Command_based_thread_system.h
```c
#pragma once

#include <zephyr/kernel.h>
#include <cstdint>
#include <utility>
#include "Fault_Tolerant_I2C_Communication_Layer.h"
#include "Device_State_Machine+Watchdog.h"
#include "Power_Management_System.h"

namespace QueueConfig {
    constexpr size_t Depth = 10;
    constexpr size_t Alignment = 4;
}

namespace PoolConfig {
    constexpr size_t Elements = 16;
    constexpr size_t Size = 48;
}

namespace ThreadConfig {
    constexpr size_t StackSmall = 512;
    constexpr size_t StackLarge = 1024;
    constexpr int PrioProducer  = 6;
    constexpr int PrioProcessor = 5;
    constexpr int PrioLogger    = 4;
}

enum class SensorID : uint16_t {
    BME280       = 0x76,
    BME280_PRESS = 0x176,
    BME280_HUM   = 0x276,
    LPS22HB      = 0x5C,
    LPS22HB_TEMP = 0x15C,
    PAV3015      = 0x28
};

enum class ReadLength : uint8_t {
    Word   = 2,
    Triple = 3,
    Block  = 8
};

enum class ProducerState : uint8_t {
    ReadBME,
    ReadLPS,
    ReadPAV
};

static_assert(sizeof(SensorID) == 2, "SensorID must be 16-bit");
static_assert(sizeof(ReadLength) == 1, "ReadLength must be 8-bit");
static_assert(QueueConfig::Depth > 0, "Queue depth must be greater than 0");
static_assert(PoolConfig::Elements >= QueueConfig::Depth, "Pool must support peak queue depth");
static_assert(ThreadConfig::PrioProcessor < ThreadConfig::PrioProducer, "Processor must have higher priority than Producer to prevent starvation");

namespace LogTags {
    constexpr char READ[]     = "READ";
    constexpr char COMPUTE[]  = "COMPUTE";
    constexpr char PRINT[]    = "PRINT";
    constexpr char PRODUCER[] = "PRODUCER";
}

struct SensorDescriptor {
    SensorID id;
    uint8_t reg;
    ReadLength len;
};

namespace SensorReg {
    constexpr uint8_t BME280_CTRL_HUM   = 0xF2;
    constexpr uint8_t BME280_CTRL_MEAS  = 0xF4;
    constexpr uint8_t BME280_DATA_START = 0xF7;
    constexpr SensorDescriptor BME_DESC = { SensorID::BME280, 0xF7, ReadLength::Block };

    constexpr SensorDescriptor LPS_P_DESC = { SensorID::LPS22HB, 0x28, ReadLength::Triple };
    constexpr SensorDescriptor LPS_T_DESC = { SensorID::LPS22HB, 0x2B, ReadLength::Word };

    constexpr SensorDescriptor PAV_DESC = { SensorID::PAV3015, 0x00, ReadLength::Word };
}

namespace BME280CalibReg {
    constexpr uint8_t DIG_T1 = 0x88; constexpr uint8_t DIG_T2 = 0x8A; constexpr uint8_t DIG_T3 = 0x8C;
    constexpr uint8_t DIG_P1 = 0x8E; constexpr uint8_t DIG_P2 = 0x90; constexpr uint8_t DIG_P3 = 0x92;
    constexpr uint8_t DIG_P4 = 0x94; constexpr uint8_t DIG_P5 = 0x96; constexpr uint8_t DIG_P6 = 0x98;
    constexpr uint8_t DIG_P7 = 0x9A; constexpr uint8_t DIG_P8 = 0x9C; constexpr uint8_t DIG_P9 = 0x9E;
    constexpr uint8_t DIG_H1 = 0xA1; constexpr uint8_t DIG_H2_L = 0xE1; constexpr uint8_t DIG_H2_M = 0xE2;
    constexpr uint8_t DIG_H3 = 0xE3; constexpr uint8_t DIG_H4_M = 0xE4; constexpr uint8_t DIG_H_SHARED = 0xE5;
    constexpr uint8_t DIG_H5_M = 0xE6; constexpr uint8_t DIG_H6 = 0xE7;
}

namespace BME280Config {
    constexpr uint8_t CTRL_HUM = 0x01;
    constexpr uint8_t CTRL_MEAS = 0x27;
}

namespace MockValues {
    constexpr uint16_t STEP = 17;
    constexpr uint64_t BME_P_BASE = 512000ULL;
    constexpr uint64_t BME_T_BASE = 512000ULL;
    constexpr uint64_t BME_H_BASE = 25000ULL;
    constexpr uint64_t LPS_P_BASE = 4000000ULL;
    constexpr uint64_t LPS_T_BASE = 2500ULL;
    constexpr uint64_t PAV_BASE   = 409ULL;
}

struct alignas(4) BME280Calibration {
    bool is_loaded = false;
    uint16_t dig_T1; int16_t dig_T2; int16_t dig_T3;
    uint16_t dig_P1; int16_t dig_P2; int16_t dig_P3;
    int16_t dig_P4;  int16_t dig_P5; int16_t dig_P6;
    int16_t dig_P7;  int16_t dig_P8; int16_t dig_P9;
    uint8_t  dig_H1; int16_t dig_H2; uint8_t  dig_H3;
    int16_t  dig_H4; int16_t dig_H5; int8_t   dig_H6;
};

struct BME280Data {
    float temperature;
    float pressure;
    float humidity;
};

struct LPS22HBData {
    float temperature;
    float pressure;
};

namespace BME280Math {
    [[nodiscard]] BME280Data decode(uint64_t raw_data, const BME280Calibration& calib) noexcept;
}

namespace LPS22HBMath {
    [[nodiscard]] float decodeTemperature(uint64_t raw) noexcept;
    [[nodiscard]] float decodePressure(uint64_t raw) noexcept;
}

namespace PAV3015Math {
    [[nodiscard]] float decodeAirflow(uint64_t raw) noexcept;
}

class ICommand {
public:
    uint32_t command_id;

    ICommand();
    virtual ~ICommand() = default;

    ICommand(const ICommand&) = delete;
    ICommand& operator=(const ICommand&) = delete;
    ICommand(ICommand&&) = delete;
    ICommand& operator=(ICommand&&) = delete;

    virtual void execute() noexcept = 0;

    void operator delete(void* ptr) noexcept;
    void destroy() noexcept;
};

class SensorReadCmd final : public ICommand {
private:
    SensorID sensor_id;
    uint8_t reg_addr;
    ReadLength length;

    [[nodiscard]] Result<uint64_t> readHardwareData() const noexcept;
    [[nodiscard]] uint64_t readMockPAVData() const noexcept;

public:
    SensorReadCmd(SensorID s_id, uint8_t r_addr, ReadLength len) noexcept;
    void execute() noexcept override final;
};

class ComputeCmd final : public ICommand {
private:
    SensorID sensor_id;
    uint8_t reg_addr;
    uint64_t raw_data;

public:
    ComputeCmd(SensorID s_id, uint8_t r_addr, uint64_t data) noexcept;
    void execute() noexcept override final;
};

class PrintCmd final : public ICommand {
private:
    SensorID sensor_id;
    float final_value;

    [[nodiscard]] const char* getSensorName() const noexcept;

public:
    PrintCmd(SensorID s_id, float val) noexcept;
    void execute() noexcept override final;
};

class PrintBME280Cmd final : public ICommand {
private:
    BME280Data data;

public:
    explicit PrintBME280Cmd(const BME280Data& d) noexcept;
    void execute() noexcept override final;
};

class PrintLPS22HBCmd final : public ICommand {
private:
    LPS22HBData data;

public:
    explicit PrintLPS22HBCmd(const LPS22HBData& d) noexcept;
    void execute() noexcept override final;
};

[[nodiscard]] bool printBME280Measurement(const BME280Data& data) noexcept;

[[nodiscard]] bool printLPS22HBMeasurement(const LPS22HBData& data) noexcept;

struct QueueStats {
    uint32_t commandsCreated = 0;
    uint32_t commandsDropped = 0;
    uint32_t loggerQueueFull = 0;
    uint32_t processorPeakDepth = 0;
    uint32_t loggerPeakDepth = 0;
};
extern QueueStats g_queueStats;

namespace SystemObjects {
    DeviceContext& context();
    I2CManager& i2c();
    PowerManager& power();
}

extern struct k_msgq processor_queue;
extern struct k_msgq logger_queue;

constexpr auto PROCESSOR_Q = &processor_queue;
constexpr auto LOGGER_Q    = &logger_queue;

void* allocateCommandMemory() noexcept;
bool enqueueCommandRaw(k_msgq* queue, ICommand* cmd) noexcept;

template<typename CmdType, typename... Args>
[[nodiscard]] bool enqueueCommand(k_msgq* queue, Args&&... args) noexcept {
    void* mem = allocateCommandMemory();
    if (!mem) return false;
    ICommand* cmd = new(mem) CmdType(std::forward<Args>(args)...);
    if (!enqueueCommandRaw(queue, cmd)) {
        cmd->destroy();
        return false;
    }
    return true;
}

[[nodiscard]] bool printMeasurement(SensorID id, float value) noexcept;

void producer_thread(void);
void processor_thread(void);
void logger_thread(void);

extern const k_tid_t producer_tid;
extern const k_tid_t processor_tid;
extern const k_tid_t logger_tid;
```
